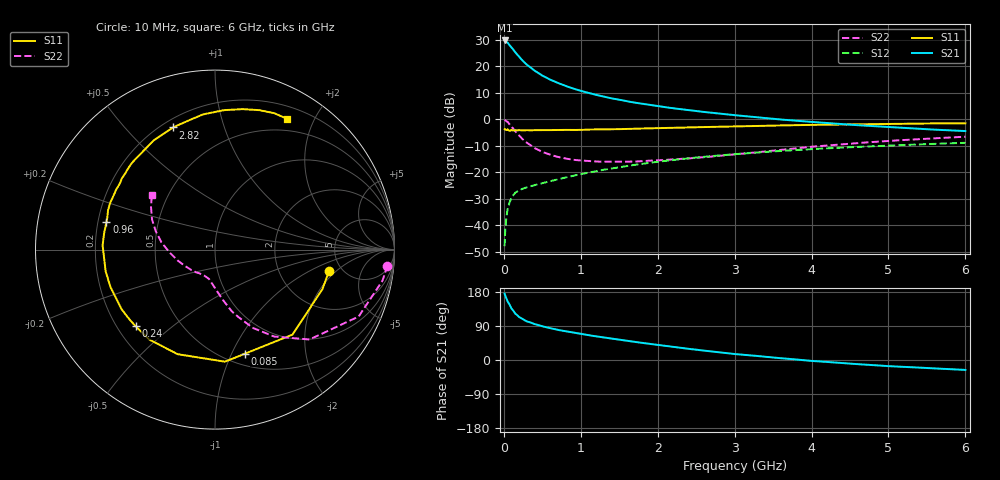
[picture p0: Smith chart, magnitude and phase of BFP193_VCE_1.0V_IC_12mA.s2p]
! Infineon Technologies  Discrete & RF Semiconductors
! BFP193
! VCE = 1.0 V,  IC =  12 mA
! Common Emitter S-Parameters:  Jan 2016
# GHz  S  MA  R  50
!  f  S11  S21  S12  S22
! GHz  MAG  ANG  MAG  ANG  MAG  ANG  MAG  ANG
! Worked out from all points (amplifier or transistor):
!   210 points, 10 MHz to 6 GHz, reference 50 ohm
!   highest |S21| = 29.7 dB at 10 MHz (marker M1)
!   |S21| within 3 dB of that: start of sweep to 110.8 MHz
!   unconditionally stable (mu >= 1): 863.2 MHz to 3.969 GHz
!   at 185 MHz: K = 0.37, MSG = 25.5 dB, |S12| = -27.1 dB
!   at 1.52 GHz: K = 1.11, MAG = 10.7 dB, |S12| = -18.1 dB
!   at 6 GHz: K = 0.96, MSG = 2.2 dB, |S12| = -9.0 dB
!   S11 on the Smith chart (normalised r, x): 10 MHz: 3.96, -1.62; 85 MHz: 0.62, -1.13; 240 MHz: 0.28, -0.38; 960 MHz: 0.23, +0.12; 2.82 GHz: 0.24, +0.69; 6 GHz: 0.35, +1.64
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0.01  0.6466 -10.6  30.48 175.2  0.004 89.8  0.9651 -5.3
0.02  0.638 -20.2  29.62 168.8  0.0086 80.8  0.9491 -10.5
0.05  0.6409 -47.7  27.56 154.4  0.0204 70.4  0.8831 -25.0
0.085  0.6033 -73.8  23.82 142.0  0.0293 59.1  0.7641 -37.3
0.1  0.6269 -84.9  22.64 135.5  0.0334 56.1  0.7262 -43.6
0.15  0.6188 -109.7  18.1 122.1  0.041 47.9  0.5857 -55.8
0.2  0.6206 -126.2  14.89 113.3  0.0455 44.0  0.4855 -64.1
0.24  0.6146 -136.0  12.87 108.2  0.0483 42.5  0.4236 -68.6
0.3  0.6176 -147.5  10.61 101.8  0.0518 41.5  0.3571 -74.7
0.4  0.6186 -160.1  8.2 94.7  0.0567 41.9  0.2838 -81.1
0.5  0.6212 -168.7  6.62 89.0  0.0618 42.8  0.2407 -85.9
0.6  0.6201 -176.2  5.576 84.0  0.0671 44.7  0.2127 -90.0
0.7  0.6265 177.9  4.823 79.5  0.0728 46.2  0.1938 -93.8
0.96  0.6242 165.6  3.555 70.3  0.089 48.0  0.1676 -101.5
1.02  0.6273 162.8  3.352 68.2  0.0926 48.3  0.1648 -103.2
1.4  0.6443 148.8  2.462 56.5  0.117 48.6  0.1573 -114.5
2.02  0.6729 129.8  1.742 39.4  0.1579 45.1  0.1668 -133.5
2.82  0.7194 108.9  1.265 19.9  0.2072 37.7  0.204 -158.4
3.1  0.7312 102.8  1.149 14.1  0.2231 34.8  0.2225 -166.4
4.1  0.7815 84.7  0.864 -3.7  0.2762 24.1  0.309 170.3
5.1  0.8171 71.2  0.694 -17.1  0.3201 13.3  0.3954 152.8
6  0.8316 61.1  0.595 -26.2  0.3568 3.7  0.4654 139.2
